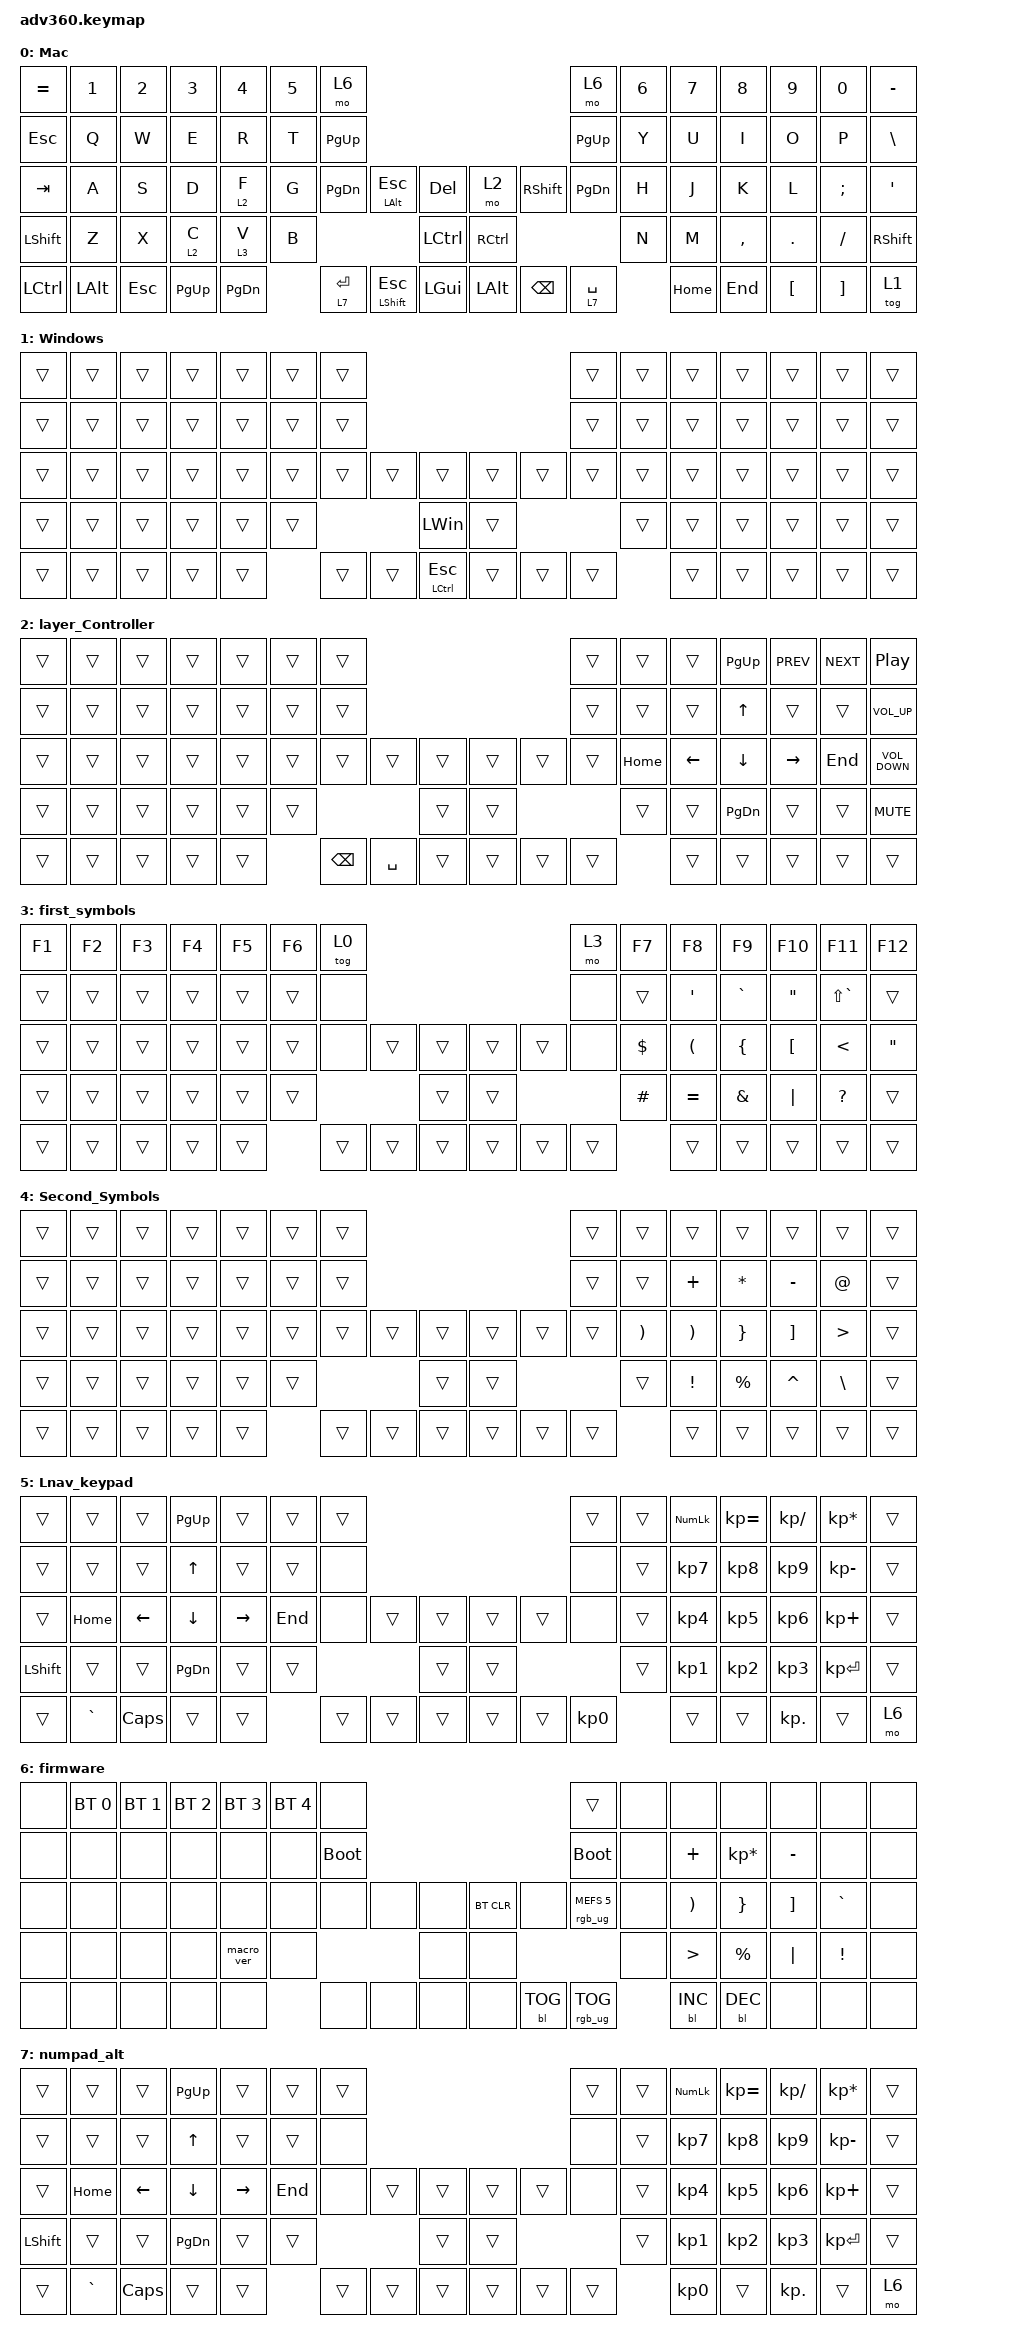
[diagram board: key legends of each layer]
/*
 * Copyright (c) 2020 The ZMK Contributors
 *
 * SPDX-License-Identifier: MIT
 */
/* THIS FILE WAS GENERATED!
 *
 * This file was generated automatically. You may or may not want to
 * edit it directly.
 */

#include <behaviors.dtsi>
#include <dt-bindings/zmk/backlight.h>
#include <dt-bindings/zmk/bt.h>
#include <dt-bindings/zmk/keys.h>
#include <dt-bindings/zmk/rgb.h>

&lt { flavor = "balanced"; };

/ {
    behaviors {
        #include "macros.dtsi"
    #include "version.dtsi"

        hm: homerow_mods {
            compatible = "zmk,behavior-hold-tap";
            label = "HOMEROW_MODS";
            #binding-cells = <2>;
            tapping-term-ms = <200>;
            quick_tap_ms = <175>;
            flavor = "tap-preferred";
            bindings = <&kp>, <&kp>;
        };
    };

    combos {
        compatible = "zmk,combos";

        symbols2_redundant1 {
            bindings = <&mo 4>;
            key-positions = <50>;
            layers = <2>;
        };

        symbols2 {
            bindings = <&mo 4>;
            key-positions = <49>;
            layers = <3>;
        };

        delete_word {
            bindings = <&kp RC(BACKSPACE)>;
            key-positions = <69 38>;
            layers = <0 1>;
        };
    };

    keymap {
        compatible = "zmk,keymap";

        Mac {
            bindings = <
&kp EQUAL  &kp N1        &kp N2      &kp N3     &kp N4         &kp N5  &mo 6                                                                                   &mo 6          &kp N6  &kp N7    &kp N8     &kp N9    &kp N0    &kp MINUS
&kp ESC    &kp Q         &kp W       &kp E      &kp R          &kp T   &kp PG_UP                                                                               &kp PAGE_UP    &kp Y   &kp U     &kp I      &kp O     &kp P     &kp BSLH
&kp TAB    &kp A         &kp S       &kp D      &lt 2 F        &kp G   &kp PG_DN    &mt LEFT_ALT ESCAPE    &kp DEL           &mo 2              &kp RSHIFT     &kp PAGE_DOWN  &kp H   &kp J     &kp K      &kp L     &kp SEMI  &kp SQT
&kp LSHFT  &kp Z         &kp X       &lt 2 C    &lt 3 V        &kp B                                       &kp LCTRL         &kp RIGHT_CONTROL                                &kp N   &kp M     &kp COMMA  &kp DOT   &kp FSLH  &kp RSHFT
&kp LCTRL  &kp LEFT_ALT  &kp ESCAPE  &kp PG_UP  &kp PAGE_DOWN          &lt 7 ENTER  &mt LEFT_SHIFT ESCAPE  &kp LEFT_GUI      &kp LEFT_ALT       &kp BACKSPACE  &lt 7 SPACE            &kp HOME  &kp END    &kp LBKT  &kp RBKT  &tog 1
            >;
        };

        Windows {
            bindings = <
&trans  &trans  &trans  &trans  &trans  &trans  &trans                                                &trans  &trans  &trans  &trans  &trans  &trans  &trans
&trans  &trans  &trans  &trans  &trans  &trans  &trans                                                &trans  &trans  &trans  &trans  &trans  &trans  &trans
&trans  &trans  &trans  &trans  &trans  &trans  &trans  &trans  &trans                &trans  &trans  &trans  &trans  &trans  &trans  &trans  &trans  &trans
&trans  &trans  &trans  &trans  &trans  &trans                  &kp LEFT_WIN          &trans                  &trans  &trans  &trans  &trans  &trans  &trans
&trans  &trans  &trans  &trans  &trans          &trans  &trans  &mt LCTRL ESCAPE      &trans  &trans  &trans          &trans  &trans  &trans  &trans  &trans
            >;
        };

        layer_Controller {
            bindings = <
&trans  &trans  &trans  &trans  &trans  &trans  &trans                                                &trans  &trans    &trans    &kp PAGE_UP    &kp C_PREV  &kp C_NEXT  &kp C_PLAY_PAUSE
&trans  &trans  &trans  &trans  &trans  &trans  &trans                                                &trans  &trans    &trans    &kp UP         &trans      &trans      &kp C_VOLUME_UP
&trans  &trans  &trans  &trans  &trans  &trans  &trans         &trans     &trans      &trans  &trans  &trans  &kp HOME  &kp LEFT  &kp DOWN       &kp RIGHT   &kp END     &kp C_VOLUME_DOWN
&trans  &trans  &trans  &trans  &trans  &trans                            &trans      &trans                  &trans    &trans    &kp PAGE_DOWN  &trans      &trans      &kp C_MUTE
&trans  &trans  &trans  &trans  &trans          &kp BACKSPACE  &kp SPACE  &trans      &trans  &trans  &trans            &trans    &trans         &trans      &trans      &trans
            >;
        };

        first_symbols {
            bindings = <
&kp F1  &kp F2  &kp F3  &kp F4  &kp F5  &kp F6  &tog 0                                      &mo 3   &kp F7      &kp F8                &kp F9          &kp F10            &kp F11        &kp F12
&trans  &trans  &trans  &trans  &trans  &trans  &none                                       &none   &trans      &kp SINGLE_QUOTE      &kp GRAVE       &kp DOUBLE_QUOTES  &kp LS(GRAVE)  &trans
&trans  &trans  &trans  &trans  &trans  &trans  &none   &trans  &trans      &trans  &trans  &none   &kp DOLLAR  &kp LEFT_PARENTHESIS  &kp LEFT_BRACE  &kp LEFT_BRACKET   &kp LESS_THAN  &kp DOUBLE_QUOTES
&trans  &trans  &trans  &trans  &trans  &trans                  &trans      &trans                  &kp HASH    &kp EQUAL             &kp AMPS        &kp PIPE           &kp QUESTION   &trans
&trans  &trans  &trans  &trans  &trans          &trans  &trans  &trans      &trans  &trans  &trans              &trans                &trans          &trans             &trans         &trans
            >;
        };

        Second_Symbols {
            bindings = <
&trans  &trans  &trans  &trans  &trans  &trans  &trans                                      &trans  &trans                 &trans                 &trans           &trans             &trans            &trans
&trans  &trans  &trans  &trans  &trans  &trans  &trans                                      &trans  &trans                 &kp PLUS               &kp ASTERISK     &kp MINUS          &kp AT            &trans
&trans  &trans  &trans  &trans  &trans  &trans  &trans  &trans  &trans      &trans  &trans  &trans  &kp RIGHT_PARENTHESIS  &kp RIGHT_PARENTHESIS  &kp RIGHT_BRACE  &kp RIGHT_BRACKET  &kp GREATER_THAN  &trans
&trans  &trans  &trans  &trans  &trans  &trans                  &trans      &trans                  &trans                 &kp EXCL               &kp PERCENT      &kp CARET          &kp BACKSLASH     &trans
&trans  &trans  &trans  &trans  &trans          &trans  &trans  &trans      &trans  &trans  &trans                         &trans                 &trans           &trans             &trans            &trans
            >;
        };

        Lnav_keypad {
            bindings = <
&trans     &trans     &trans    &kp PG_UP      &trans     &trans   &trans                                      &trans           &trans  &kp KP_NUM  &kp KP_EQUAL  &kp KP_DIVIDE  &kp KP_MULTIPLY  &trans
&trans     &trans     &trans    &kp UP         &trans     &trans   &none                                       &none            &trans  &kp KP_N7   &kp KP_N8     &kp KP_N9      &kp KP_MINUS     &trans
&trans     &kp HOME   &kp LEFT  &kp DOWN       &kp RIGHT  &kp END  &none   &trans  &trans      &trans  &trans  &none            &trans  &kp KP_N4   &kp KP_N5     &kp KP_N6      &kp KP_PLUS      &trans
&kp LSHFT  &trans     &trans    &kp PAGE_DOWN  &trans     &trans                   &trans      &trans                           &trans  &kp KP_N1   &kp KP_N2     &kp KP_N3      &kp KP_ENTER     &trans
&trans     &kp GRAVE  &kp CAPS  &trans         &trans              &trans  &trans  &trans      &trans  &trans  &kp KP_NUMBER_0          &trans      &trans        &kp KP_DOT     &trans           &mo 6
            >;
        };

        firmware {
            bindings = <
&none  &bt BT_SEL 0  &bt BT_SEL 1  &bt BT_SEL 2  &bt BT_SEL 3  &bt BT_SEL 4  &none                                                  &trans                  &none  &none                  &none            &none              &none      &none
&none  &none         &none         &none         &none         &none         &bootloader                                            &bootloader             &none  &kp PLUS               &kp KP_MULTIPLY  &kp MINUS          &none      &none
&none  &none         &none         &none         &none         &none         &none        &none  &none      &bt BT_CLR  &none       &rgb_ug RGB_MEFS_CMD 5  &none  &kp RIGHT_PARENTHESIS  &kp RIGHT_BRACE  &kp RIGHT_BRACKET  &kp GRAVE  &none
&none  &none         &none         &none         &macro_ver    &none                             &none      &none                                           &none  &kp GREATER_THAN       &kp PERCENT      &kp PIPE           &kp EXCL   &none
&none  &none         &none         &none         &none                       &none        &none  &none      &none       &bl BL_TOG  &rgb_ug RGB_TOG                &bl BL_INC             &bl BL_DEC       &none              &none      &none
            >;
        };

        numpad_alt {
            bindings = <
&trans     &trans     &trans    &kp PG_UP      &trans     &trans   &trans                                      &trans  &trans  &kp KP_NUM       &kp KP_EQUAL  &kp KP_DIVIDE  &kp KP_MULTIPLY  &trans
&trans     &trans     &trans    &kp UP         &trans     &trans   &none                                       &none   &trans  &kp KP_N7        &kp KP_N8     &kp KP_N9      &kp KP_MINUS     &trans
&trans     &kp HOME   &kp LEFT  &kp DOWN       &kp RIGHT  &kp END  &none   &trans  &trans      &trans  &trans  &none   &trans  &kp KP_N4        &kp KP_N5     &kp KP_N6      &kp KP_PLUS      &trans
&kp LSHFT  &trans     &trans    &kp PAGE_DOWN  &trans     &trans                   &trans      &trans                  &trans  &kp KP_N1        &kp KP_N2     &kp KP_N3      &kp KP_ENTER     &trans
&trans     &kp GRAVE  &kp CAPS  &trans         &trans              &trans  &trans  &trans      &trans  &trans  &trans          &kp KP_NUMBER_0  &trans        &kp KP_DOT     &trans           &mo 6
            >;
        };
    };

    conditional_layers { compatible = "zmk,conditional-layers"; };
};
